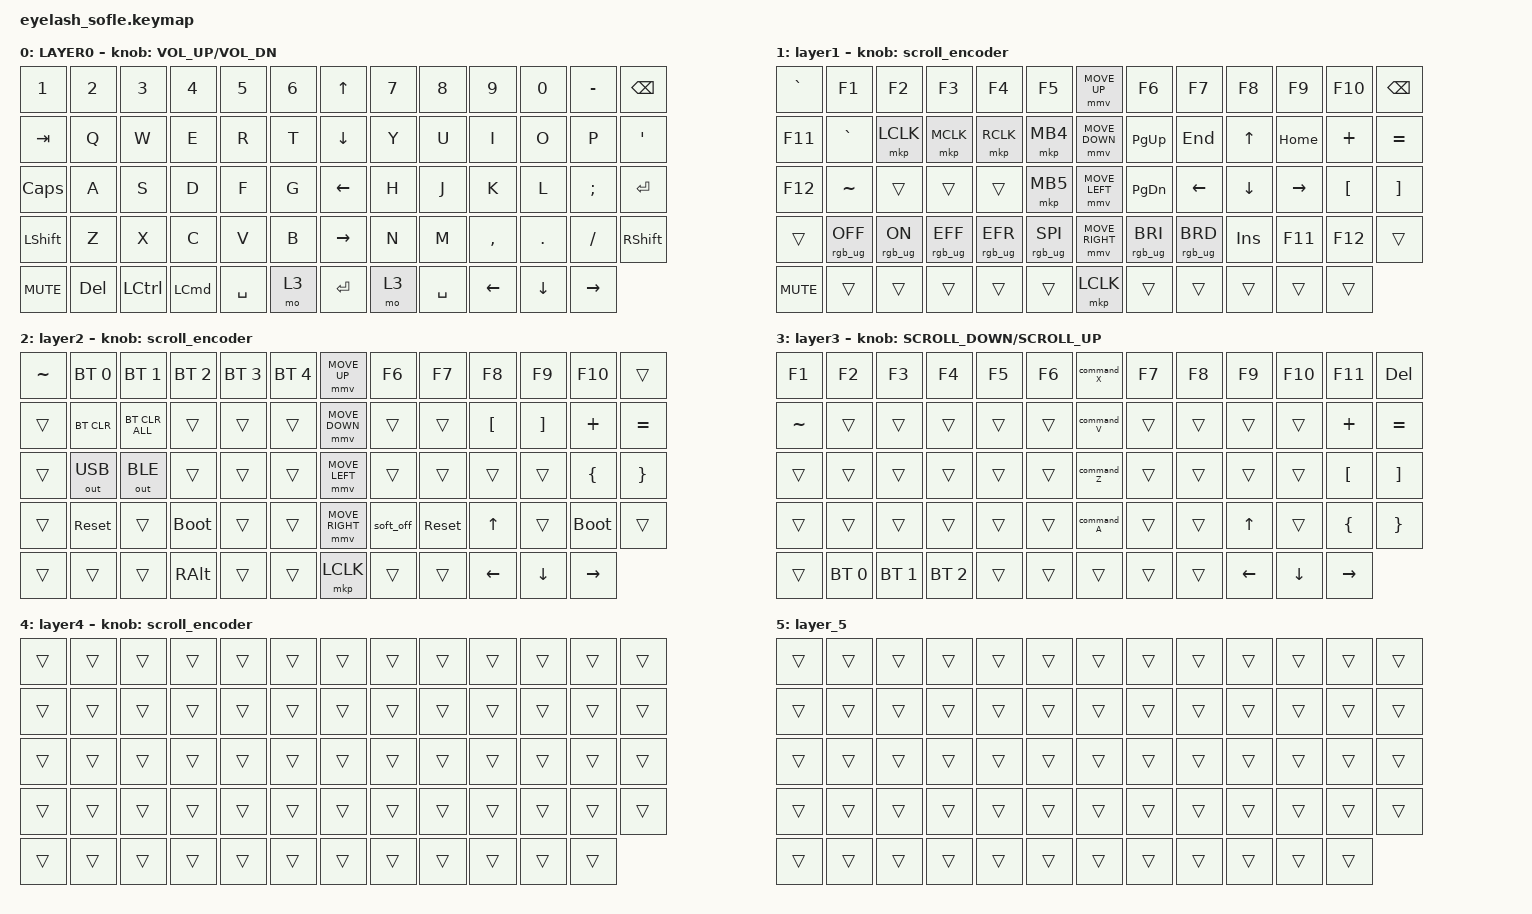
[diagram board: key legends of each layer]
#define ZMK_POINTING_DEFAULT_MOVE_VAL 1200  // 600
#define ZMK_POINTING_DEFAULT_SCRL_VAL 25   // 10

#include <input/processors.dtsi>
#include <zephyr/dt-bindings/input/input-event-codes.h>
#include <behaviors.dtsi>
#include <dt-bindings/zmk/bt.h>
#include <dt-bindings/zmk/keys.h>
#include <dt-bindings/zmk/outputs.h>
#include <dt-bindings/zmk/pointing.h>
#include <dt-bindings/zmk/rgb.h>

&mmv_input_listener { input-processors = <&zip_xy_scaler 2 1>; };

&msc_input_listener { input-processors = <&zip_scroll_scaler 2 1>; };

&msc {
    acceleration-exponent = <1>;      // 0
    time-to-max-speed-ms = <100>;       // 300
    delay-ms = <0>;                   // 0
};

&mmv {
    time-to-max-speed-ms = <500>;
    acceleration-exponent = <1>;
    trigger-period-ms = <16>;
};

&soft_off { hold-time-ms = <2000>; };

/ {
    scroll_encoder: scroll_encoder {
        compatible = "zmk,behavior-sensor-rotate";
        #sensor-binding-cells = <0>;
        bindings = <&msc SCRL_DOWN>, <&msc SCRL_UP>;

        tap-ms = <100>;
    };

    behaviors {
    };

    combos {
        compatible = "zmk,combos";

        softoff {
            bindings = <&soft_off>;
            key-positions = <14 28 40>;
        };
    };

    macros {
        SHIFT_MCLK: SHIFT_MCLK {
            compatible = "zmk,behavior-macro";
            #binding-cells = <0>;
            bindings =
                <&macro_press>,
                <&kp LEFT_SHIFT>,
                <&macro_press>,
                <&mkp MB3>,
                <&macro_pause_for_release>,
                <&macro_release>,
                <&kp LEFT_SHIFT &mkp MB3>;

            label = "SHIFT_MCLK";
        };

        command_A: command_A {
            compatible = "zmk,behavior-macro";
            #binding-cells = <0>;
            bindings =
                <&macro_press>,
                <&kp LEFT_COMMAND>,
                <&macro_press>,
                <&kp A>;

            label = "COMMAND_A";
        };

        command_Z: command_Z {
            compatible = "zmk,behavior-macro";
            #binding-cells = <0>;
            bindings =
                <&macro_press>,
                <&kp LEFT_COMMAND>,
                <&macro_press>,
                <&kp Z>;

            label = "COMMAND_Z";
        };

        command_X: command_X {
            compatible = "zmk,behavior-macro";
            #binding-cells = <0>;
            bindings =
                <&macro_press>,
                <&kp LEFT_COMMAND>,
                <&macro_press>,
                <&kp X>;

            label = "COMMAND_X";
        };

        command_V: command_V {
            compatible = "zmk,behavior-macro";
            #binding-cells = <0>;
            bindings =
                <&macro_press>,
                <&kp LEFT_COMMAND>,
                <&macro_press>,
                <&kp V>;

            label = "COMMAND_V";
        };
    };

    keymap {
        compatible = "zmk,keymap";

        layer0 {
            bindings = <
&kp NUMBER_1    &kp NUMBER_2  &kp NUMBER_3  &kp NUMBER_4      &kp NUMBER_5  &kp NUMBER_6    &kp UP_ARROW     &kp N7  &kp N8     &kp N9     &kp N0    &kp MINUS  &kp BACKSPACE
&kp TAB         &kp Q         &kp W         &kp E             &kp R         &kp T           &kp DOWN_ARROW   &kp Y   &kp U      &kp I      &kp O     &kp P      &kp APOSTROPHE
&kp CAPSLOCK    &kp A         &kp S         &kp D             &kp F         &kp G           &kp LEFT_ARROW   &kp H   &kp J      &kp K      &kp L     &kp SEMI   &kp ENTER
&kp LEFT_SHIFT  &kp Z         &kp X         &kp C             &kp V         &kp B           &kp RIGHT_ARROW  &kp N   &kp M      &kp COMMA  &kp DOT   &kp FSLH   &kp RIGHT_SHIFT
&kp C_MUTE      &kp DELETE    &kp LCTRL     &kp LEFT_COMMAND  &kp SPACE     &mo 3           &kp ENTER        &mo 3   &kp SPACE  &kp LEFT   &kp DOWN  &kp RIGHT
            >;

            sensor-bindings = <&inc_dec_kp C_VOLUME_UP C_VOL_DN>;
            display-name = "LAYER0";
        };

        layer_1 {
            bindings = <
&kp GRAVE   &kp F1           &kp F2          &kp F3           &kp F4           &kp F5             &mmv MOVE_UP     &kp F6           &kp F7           &kp F8      &kp F9     &kp F10           &kp BACKSPACE
&kp F11     &kp GRAVE        &mkp LCLK       &mkp MCLK        &mkp RCLK        &mkp MB4           &mmv MOVE_DOWN   &kp PG_UP        &kp END          &kp UP      &kp HOME   &kp PLUS          &kp EQUAL
&kp F12     &kp TILDE        &trans          &trans           &trans           &mkp MB5           &mmv MOVE_LEFT   &kp PG_DN        &kp LEFT         &kp DOWN    &kp RIGHT  &kp LEFT_BRACKET  &kp RIGHT_BRACKET
&trans      &rgb_ug RGB_OFF  &rgb_ug RGB_ON  &rgb_ug RGB_EFF  &rgb_ug RGB_EFR  &rgb_ug RGB_SPI    &mmv MOVE_RIGHT  &rgb_ug RGB_BRI  &rgb_ug RGB_BRD  &kp INSERT  &kp F11    &kp F12           &trans
&kp C_MUTE  &trans           &trans          &trans           &trans           &trans             &mkp LCLK        &trans           &trans           &trans      &trans     &trans
            >;

            display-name = "layer1";
            sensor-bindings = <&scroll_encoder>;
        };

        layer_2 {
            bindings = <
&kp TILDE  &bt BT_SEL 0  &bt BT_SEL 1    &bt BT_SEL 2   &bt BT_SEL 3  &bt BT_SEL 4    &mmv MOVE_UP     &kp F6     &kp F7      &kp F8            &kp F9             &kp F10      &trans
&trans     &bt BT_CLR    &bt BT_CLR_ALL  &trans         &trans        &trans          &mmv MOVE_DOWN   &trans     &trans      &kp LEFT_BRACKET  &kp RIGHT_BRACKET  &kp PLUS     &kp EQUAL
&trans     &out OUT_USB  &out OUT_BLE    &trans         &trans        &trans          &mmv MOVE_LEFT   &trans     &trans      &trans            &trans             &kp LBRC     &kp RBRC
&trans     &sys_reset    &trans          &bootloader    &trans        &trans          &mmv MOVE_RIGHT  &soft_off  &sys_reset  &kp UP_ARROW      &trans             &bootloader  &trans
&trans     &trans        &trans          &kp RIGHT_ALT  &trans        &trans          &mkp LCLK        &trans     &trans      &kp LEFT          &kp DOWN           &kp RIGHT
            >;

            display-name = "layer2";
            sensor-bindings = <&scroll_encoder>;
        };

        layer_3 {
            bindings = <
&kp F1     &kp F2        &kp F3        &kp F4        &kp F5  &kp F6    &command_X  &kp F7  &kp F8  &kp F9        &kp F10   &kp F11           &kp DEL
&kp TILDE  &trans        &trans        &trans        &trans  &trans    &command_V  &trans  &trans  &trans        &trans    &kp PLUS          &kp EQUAL
&trans     &trans        &trans        &trans        &trans  &trans    &command_Z  &trans  &trans  &trans        &trans    &kp LEFT_BRACKET  &kp RIGHT_BRACKET
&trans     &trans        &trans        &trans        &trans  &trans    &command_A  &trans  &trans  &kp UP_ARROW  &trans    &kp LEFT_BRACE    &kp RIGHT_BRACE
&trans     &bt BT_SEL 0  &bt BT_SEL 1  &bt BT_SEL 2  &trans  &trans    &trans      &trans  &trans  &kp LEFT      &kp DOWN  &kp RIGHT_ARROW
            >;

            display-name = "layer3";
            sensor-bindings = <&inc_dec_kp K_SCROLL_DOWN K_SCROLL_UP>;
        };

        layer_4 {
            bindings = <
&trans  &trans  &trans  &trans  &trans  &trans    &trans  &trans  &trans  &trans  &trans  &trans  &trans
&trans  &trans  &trans  &trans  &trans  &trans    &trans  &trans  &trans  &trans  &trans  &trans  &trans
&trans  &trans  &trans  &trans  &trans  &trans    &trans  &trans  &trans  &trans  &trans  &trans  &trans
&trans  &trans  &trans  &trans  &trans  &trans    &trans  &trans  &trans  &trans  &trans  &trans  &trans
&trans  &trans  &trans  &trans  &trans  &trans    &trans  &trans  &trans  &trans  &trans  &trans
            >;

            display-name = "layer4";
            sensor-bindings = <&scroll_encoder>;
        };

        layer_5 {
            bindings = <
&trans  &trans  &trans  &trans  &trans  &trans    &trans  &trans  &trans  &trans  &trans  &trans  &trans
&trans  &trans  &trans  &trans  &trans  &trans    &trans  &trans  &trans  &trans  &trans  &trans  &trans
&trans  &trans  &trans  &trans  &trans  &trans    &trans  &trans  &trans  &trans  &trans  &trans  &trans
&trans  &trans  &trans  &trans  &trans  &trans    &trans  &trans  &trans  &trans  &trans  &trans  &trans
&trans  &trans  &trans  &trans  &trans  &trans    &trans  &trans  &trans  &trans  &trans  &trans
            >;
        };
    };
};
